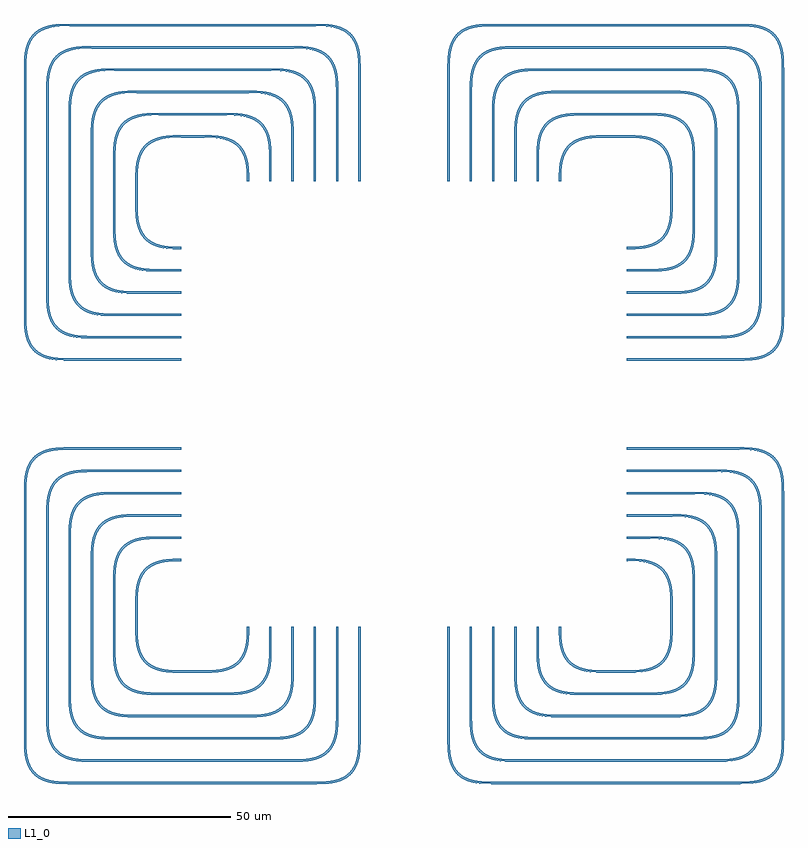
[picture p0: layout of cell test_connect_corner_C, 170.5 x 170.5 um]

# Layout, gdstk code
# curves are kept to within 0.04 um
from math import pi, radians
import gdstk
lib = gdstk.Library(unit=1e-6, precision=1e-09)
def R(c, l, rs):  # rectangles x0, y0, x1, y1
    for r in rs: c.add(gdstk.rectangle(r[:2], r[2:], *l))
def P(c, l, *ps):  # polygons
    for p in ps: c.add(gdstk.Polygon(p, *l))
L1_0 = (1, 0)

bend_euler_cross_sectio_ = lib.new_cell('bend_euler_cross_sectio_342b5477')
P(bend_euler_cross_sectio_, L1_0, [(0,-0.25),(2.93,-0.158),(3.973,-0.02),(4.865,0.175),(5.829,0.491),(6.664,0.882),(7.404,1.353),(8.073,1.927),(8.647,2.596),(9.118,3.336),(9.509,4.171),(9.825,5.135),(10.02,6.027),(10.158,7.07),(10.25,10),(9.75,10),(9.651,7.025),(9.494,5.933),(9.213,4.826),(8.921,4.063),(8.591,3.419),(8.163,2.785),(7.751,2.313),(7.215,1.837),(6.581,1.409),(5.217,0.801),(4.247,0.542),(2.975,0.349),(0,0.25)])

straight_cross_sectionc_ = lib.new_cell('straight_cross_sectionc_5f53f99b')
R(straight_cross_sectionc_, L1_0, [(0,-0.25,0.01,0.25)])

c_straight_cross_sectionc_ = lib.new_cell('straight_cross_sectionc_67a722f7')
R(c_straight_cross_sectionc_, L1_0, [(0,-0.25,5.01,0.25)])

c_straight_cross_sectionc__ = lib.new_cell('straight_cross_sectionc_c906bfc5')
R(c_straight_cross_sectionc__, L1_0, [(0,-0.25,5,0.25)])

c_straight_cross_sectionc___ = lib.new_cell('straight_cross_sectionc_951ab90a')
R(c_straight_cross_sectionc___, L1_0, [(0,-0.25,15,0.25)])

c_straight_cross_sectionc____ = lib.new_cell('straight_cross_sectionc_159e8a25')
R(c_straight_cross_sectionc____, L1_0, [(0,-0.25,10,0.25)])

c_straight_cross_sectionc_____ = lib.new_cell('straight_cross_sectionc_f2adb4bf')
R(c_straight_cross_sectionc_____, L1_0, [(0,-0.25,25,0.25)])

c_straight_cross_sectionc______ = lib.new_cell('straight_cross_sectionc_0d7aceec')
R(c_straight_cross_sectionc______, L1_0, [(0,-0.25,35,0.25)])

c_straight_cross_sectionc_______ = lib.new_cell('straight_cross_sectionc_e5efc106')
R(c_straight_cross_sectionc_______, L1_0, [(0,-0.25,20,0.25)])

c_straight_cross_sectionc________ = lib.new_cell('straight_cross_sectionc_f00fc95a')
R(c_straight_cross_sectionc________, L1_0, [(0,-0.25,45,0.25)])

c_straight_cross_sectionc_________ = lib.new_cell('straight_cross_sectionc_13ce755f')
R(c_straight_cross_sectionc_________, L1_0, [(0,-0.25,55,0.25)])

test_connect_corner_c = lib.new_cell('test_connect_corner_C')
test_connect_corner_c.add(gdstk.Reference(bend_euler_cross_sectio_, (50.01,35)))
test_connect_corner_c.add(gdstk.Reference(bend_euler_cross_sectio_, (60.01,50.01), rotation=pi/2))
test_connect_corner_c.add(gdstk.Reference(bend_euler_cross_sectio_, (45,60.01), rotation=pi))
test_connect_corner_c.add(gdstk.Reference(straight_cross_sectionc_, (50,35)))
test_connect_corner_c.add(gdstk.Reference(c_straight_cross_sectionc_, (60.01,45), rotation=pi/2))
test_connect_corner_c.add(gdstk.Reference(c_straight_cross_sectionc_, (50.01,60.01), rotation=pi))
test_connect_corner_c.add(gdstk.Reference(straight_cross_sectionc_, (35,50.01), rotation=3*pi/2))
test_connect_corner_c.add(gdstk.Reference(bend_euler_cross_sectio_, (55,30)))
test_connect_corner_c.add(gdstk.Reference(bend_euler_cross_sectio_, (65,55), rotation=pi/2))
test_connect_corner_c.add(gdstk.Reference(bend_euler_cross_sectio_, (40,65), rotation=pi))
test_connect_corner_c.add(gdstk.Reference(c_straight_cross_sectionc__, (50,30)))
test_connect_corner_c.add(gdstk.Reference(c_straight_cross_sectionc___, (65,40), rotation=pi/2))
test_connect_corner_c.add(gdstk.Reference(c_straight_cross_sectionc___, (55,65), rotation=pi))
test_connect_corner_c.add(gdstk.Reference(c_straight_cross_sectionc__, (30,55), rotation=3*pi/2))
test_connect_corner_c.add(gdstk.Reference(bend_euler_cross_sectio_, (60,25)))
test_connect_corner_c.add(gdstk.Reference(bend_euler_cross_sectio_, (70,60), rotation=pi/2))
test_connect_corner_c.add(gdstk.Reference(bend_euler_cross_sectio_, (35,70), rotation=pi))
test_connect_corner_c.add(gdstk.Reference(c_straight_cross_sectionc____, (50,25)))
test_connect_corner_c.add(gdstk.Reference(c_straight_cross_sectionc_____, (70,35), rotation=pi/2))
test_connect_corner_c.add(gdstk.Reference(c_straight_cross_sectionc_____, (60,70), rotation=pi))
test_connect_corner_c.add(gdstk.Reference(c_straight_cross_sectionc____, (25,60), rotation=3*pi/2))
test_connect_corner_c.add(gdstk.Reference(bend_euler_cross_sectio_, (65,20)))
test_connect_corner_c.add(gdstk.Reference(bend_euler_cross_sectio_, (75,65), rotation=pi/2))
test_connect_corner_c.add(gdstk.Reference(bend_euler_cross_sectio_, (30,75), rotation=pi))
test_connect_corner_c.add(gdstk.Reference(c_straight_cross_sectionc___, (50,20)))
test_connect_corner_c.add(gdstk.Reference(c_straight_cross_sectionc______, (75,30), rotation=pi/2))
test_connect_corner_c.add(gdstk.Reference(c_straight_cross_sectionc______, (65,75), rotation=pi))
test_connect_corner_c.add(gdstk.Reference(c_straight_cross_sectionc___, (20,65), rotation=3*pi/2))
test_connect_corner_c.add(gdstk.Reference(bend_euler_cross_sectio_, (70,15)))
test_connect_corner_c.add(gdstk.Reference(bend_euler_cross_sectio_, (80,70), rotation=pi/2))
test_connect_corner_c.add(gdstk.Reference(bend_euler_cross_sectio_, (25,80), rotation=pi))
test_connect_corner_c.add(gdstk.Reference(c_straight_cross_sectionc_______, (50,15)))
test_connect_corner_c.add(gdstk.Reference(c_straight_cross_sectionc________, (80,25), rotation=pi/2))
test_connect_corner_c.add(gdstk.Reference(c_straight_cross_sectionc________, (70,80), rotation=pi))
test_connect_corner_c.add(gdstk.Reference(c_straight_cross_sectionc_______, (15,70), rotation=3*pi/2))
test_connect_corner_c.add(gdstk.Reference(bend_euler_cross_sectio_, (75,10)))
test_connect_corner_c.add(gdstk.Reference(bend_euler_cross_sectio_, (85,75), rotation=pi/2))
test_connect_corner_c.add(gdstk.Reference(bend_euler_cross_sectio_, (20,85), rotation=pi))
test_connect_corner_c.add(gdstk.Reference(c_straight_cross_sectionc_____, (50,10)))
test_connect_corner_c.add(gdstk.Reference(c_straight_cross_sectionc_________, (85,20), rotation=pi/2))
test_connect_corner_c.add(gdstk.Reference(c_straight_cross_sectionc_________, (75,85), rotation=pi))
test_connect_corner_c.add(gdstk.Reference(c_straight_cross_sectionc_____, (10,75), rotation=3*pi/2))
test_connect_corner_c.add(gdstk.Reference(bend_euler_cross_sectio_, (-50.01,35), rotation=pi, x_reflection=True))
test_connect_corner_c.add(gdstk.Reference(bend_euler_cross_sectio_, (-60.01,50.01), rotation=pi/2, x_reflection=True))
test_connect_corner_c.add(gdstk.Reference(bend_euler_cross_sectio_, (-45,60.01), x_reflection=True))
test_connect_corner_c.add(gdstk.Reference(straight_cross_sectionc_, (-50,35), rotation=pi))
test_connect_corner_c.add(gdstk.Reference(c_straight_cross_sectionc_, (-60.01,45), rotation=pi/2))
test_connect_corner_c.add(gdstk.Reference(c_straight_cross_sectionc_, (-50.01,60.01)))
test_connect_corner_c.add(gdstk.Reference(straight_cross_sectionc_, (-35,50.01), rotation=3*pi/2))
test_connect_corner_c.add(gdstk.Reference(bend_euler_cross_sectio_, (-55,30), rotation=pi, x_reflection=True))
test_connect_corner_c.add(gdstk.Reference(bend_euler_cross_sectio_, (-65,55), rotation=pi/2, x_reflection=True))
test_connect_corner_c.add(gdstk.Reference(bend_euler_cross_sectio_, (-40,65), x_reflection=True))
test_connect_corner_c.add(gdstk.Reference(c_straight_cross_sectionc__, (-50,30), rotation=pi))
test_connect_corner_c.add(gdstk.Reference(c_straight_cross_sectionc___, (-65,40), rotation=pi/2))
test_connect_corner_c.add(gdstk.Reference(c_straight_cross_sectionc___, (-55,65)))
test_connect_corner_c.add(gdstk.Reference(c_straight_cross_sectionc__, (-30,55), rotation=3*pi/2))
test_connect_corner_c.add(gdstk.Reference(bend_euler_cross_sectio_, (-60,25), rotation=pi, x_reflection=True))
test_connect_corner_c.add(gdstk.Reference(bend_euler_cross_sectio_, (-70,60), rotation=pi/2, x_reflection=True))
test_connect_corner_c.add(gdstk.Reference(bend_euler_cross_sectio_, (-35,70), x_reflection=True))
test_connect_corner_c.add(gdstk.Reference(c_straight_cross_sectionc____, (-50,25), rotation=pi))
test_connect_corner_c.add(gdstk.Reference(c_straight_cross_sectionc_____, (-70,35), rotation=pi/2))
test_connect_corner_c.add(gdstk.Reference(c_straight_cross_sectionc_____, (-60,70)))
test_connect_corner_c.add(gdstk.Reference(c_straight_cross_sectionc____, (-25,60), rotation=3*pi/2))
test_connect_corner_c.add(gdstk.Reference(bend_euler_cross_sectio_, (-65,20), rotation=pi, x_reflection=True))
test_connect_corner_c.add(gdstk.Reference(bend_euler_cross_sectio_, (-75,65), rotation=pi/2, x_reflection=True))
test_connect_corner_c.add(gdstk.Reference(bend_euler_cross_sectio_, (-30,75), x_reflection=True))
test_connect_corner_c.add(gdstk.Reference(c_straight_cross_sectionc___, (-50,20), rotation=pi))
test_connect_corner_c.add(gdstk.Reference(c_straight_cross_sectionc______, (-75,30), rotation=pi/2))
test_connect_corner_c.add(gdstk.Reference(c_straight_cross_sectionc______, (-65,75)))
test_connect_corner_c.add(gdstk.Reference(c_straight_cross_sectionc___, (-20,65), rotation=3*pi/2))
test_connect_corner_c.add(gdstk.Reference(bend_euler_cross_sectio_, (-70,15), rotation=pi, x_reflection=True))
test_connect_corner_c.add(gdstk.Reference(bend_euler_cross_sectio_, (-80,70), rotation=pi/2, x_reflection=True))
test_connect_corner_c.add(gdstk.Reference(bend_euler_cross_sectio_, (-25,80), x_reflection=True))
test_connect_corner_c.add(gdstk.Reference(c_straight_cross_sectionc_______, (-50,15), rotation=pi))
test_connect_corner_c.add(gdstk.Reference(c_straight_cross_sectionc________, (-80,25), rotation=pi/2))
test_connect_corner_c.add(gdstk.Reference(c_straight_cross_sectionc________, (-70,80)))
test_connect_corner_c.add(gdstk.Reference(c_straight_cross_sectionc_______, (-15,70), rotation=3*pi/2))
test_connect_corner_c.add(gdstk.Reference(bend_euler_cross_sectio_, (-75,10), rotation=pi, x_reflection=True))
test_connect_corner_c.add(gdstk.Reference(bend_euler_cross_sectio_, (-85,75), rotation=pi/2, x_reflection=True))
test_connect_corner_c.add(gdstk.Reference(bend_euler_cross_sectio_, (-20,85), x_reflection=True))
test_connect_corner_c.add(gdstk.Reference(c_straight_cross_sectionc_____, (-50,10), rotation=pi))
test_connect_corner_c.add(gdstk.Reference(c_straight_cross_sectionc_________, (-85,20), rotation=pi/2))
test_connect_corner_c.add(gdstk.Reference(c_straight_cross_sectionc_________, (-75,85)))
test_connect_corner_c.add(gdstk.Reference(c_straight_cross_sectionc_____, (-10,75), rotation=3*pi/2))
test_connect_corner_c.add(gdstk.Reference(bend_euler_cross_sectio_, (50.01,-35), x_reflection=True))
test_connect_corner_c.add(gdstk.Reference(bend_euler_cross_sectio_, (60.01,-50.01), rotation=3*pi/2, x_reflection=True))
test_connect_corner_c.add(gdstk.Reference(bend_euler_cross_sectio_, (45,-60.01), rotation=pi, x_reflection=True))
test_connect_corner_c.add(gdstk.Reference(straight_cross_sectionc_, (50,-35)))
test_connect_corner_c.add(gdstk.Reference(c_straight_cross_sectionc_, (60.01,-45), rotation=3*pi/2))
test_connect_corner_c.add(gdstk.Reference(c_straight_cross_sectionc_, (50.01,-60.01), rotation=pi))
test_connect_corner_c.add(gdstk.Reference(straight_cross_sectionc_, (35,-50.01), rotation=pi/2))
test_connect_corner_c.add(gdstk.Reference(bend_euler_cross_sectio_, (55,-30), x_reflection=True))
test_connect_corner_c.add(gdstk.Reference(bend_euler_cross_sectio_, (65,-55), rotation=3*pi/2, x_reflection=True))
test_connect_corner_c.add(gdstk.Reference(bend_euler_cross_sectio_, (40,-65), rotation=pi, x_reflection=True))
test_connect_corner_c.add(gdstk.Reference(c_straight_cross_sectionc__, (50,-30)))
test_connect_corner_c.add(gdstk.Reference(c_straight_cross_sectionc___, (65,-40), rotation=3*pi/2))
test_connect_corner_c.add(gdstk.Reference(c_straight_cross_sectionc___, (55,-65), rotation=pi))
test_connect_corner_c.add(gdstk.Reference(c_straight_cross_sectionc__, (30,-55), rotation=pi/2))
test_connect_corner_c.add(gdstk.Reference(bend_euler_cross_sectio_, (60,-25), x_reflection=True))
test_connect_corner_c.add(gdstk.Reference(bend_euler_cross_sectio_, (70,-60), rotation=3*pi/2, x_reflection=True))
test_connect_corner_c.add(gdstk.Reference(bend_euler_cross_sectio_, (35,-70), rotation=pi, x_reflection=True))
test_connect_corner_c.add(gdstk.Reference(c_straight_cross_sectionc____, (50,-25)))
test_connect_corner_c.add(gdstk.Reference(c_straight_cross_sectionc_____, (70,-35), rotation=3*pi/2))
test_connect_corner_c.add(gdstk.Reference(c_straight_cross_sectionc_____, (60,-70), rotation=pi))
test_connect_corner_c.add(gdstk.Reference(c_straight_cross_sectionc____, (25,-60), rotation=pi/2))
test_connect_corner_c.add(gdstk.Reference(bend_euler_cross_sectio_, (65,-20), x_reflection=True))
test_connect_corner_c.add(gdstk.Reference(bend_euler_cross_sectio_, (75,-65), rotation=3*pi/2, x_reflection=True))
test_connect_corner_c.add(gdstk.Reference(bend_euler_cross_sectio_, (30,-75), rotation=pi, x_reflection=True))
test_connect_corner_c.add(gdstk.Reference(c_straight_cross_sectionc___, (50,-20)))
test_connect_corner_c.add(gdstk.Reference(c_straight_cross_sectionc______, (75,-30), rotation=3*pi/2))
test_connect_corner_c.add(gdstk.Reference(c_straight_cross_sectionc______, (65,-75), rotation=pi))
test_connect_corner_c.add(gdstk.Reference(c_straight_cross_sectionc___, (20,-65), rotation=pi/2))
test_connect_corner_c.add(gdstk.Reference(bend_euler_cross_sectio_, (70,-15), x_reflection=True))
test_connect_corner_c.add(gdstk.Reference(bend_euler_cross_sectio_, (80,-70), rotation=3*pi/2, x_reflection=True))
test_connect_corner_c.add(gdstk.Reference(bend_euler_cross_sectio_, (25,-80), rotation=pi, x_reflection=True))
test_connect_corner_c.add(gdstk.Reference(c_straight_cross_sectionc_______, (50,-15)))
test_connect_corner_c.add(gdstk.Reference(c_straight_cross_sectionc________, (80,-25), rotation=3*pi/2))
test_connect_corner_c.add(gdstk.Reference(c_straight_cross_sectionc________, (70,-80), rotation=pi))
test_connect_corner_c.add(gdstk.Reference(c_straight_cross_sectionc_______, (15,-70), rotation=pi/2))
test_connect_corner_c.add(gdstk.Reference(bend_euler_cross_sectio_, (75,-10), x_reflection=True))
test_connect_corner_c.add(gdstk.Reference(bend_euler_cross_sectio_, (85,-75), rotation=3*pi/2, x_reflection=True))
test_connect_corner_c.add(gdstk.Reference(bend_euler_cross_sectio_, (20,-85), rotation=pi, x_reflection=True))
test_connect_corner_c.add(gdstk.Reference(c_straight_cross_sectionc_____, (50,-10)))
test_connect_corner_c.add(gdstk.Reference(c_straight_cross_sectionc_________, (85,-20), rotation=3*pi/2))
test_connect_corner_c.add(gdstk.Reference(c_straight_cross_sectionc_________, (75,-85), rotation=pi))
test_connect_corner_c.add(gdstk.Reference(c_straight_cross_sectionc_____, (10,-75), rotation=pi/2))
test_connect_corner_c.add(gdstk.Reference(bend_euler_cross_sectio_, (-50.01,-35), rotation=pi))
test_connect_corner_c.add(gdstk.Reference(bend_euler_cross_sectio_, (-60.01,-50.01), rotation=3*pi/2))
test_connect_corner_c.add(gdstk.Reference(bend_euler_cross_sectio_, (-45,-60.01)))
test_connect_corner_c.add(gdstk.Reference(straight_cross_sectionc_, (-50,-35), rotation=pi))
test_connect_corner_c.add(gdstk.Reference(c_straight_cross_sectionc_, (-60.01,-45), rotation=3*pi/2))
test_connect_corner_c.add(gdstk.Reference(c_straight_cross_sectionc_, (-50.01,-60.01)))
test_connect_corner_c.add(gdstk.Reference(straight_cross_sectionc_, (-35,-50.01), rotation=pi/2))
test_connect_corner_c.add(gdstk.Reference(bend_euler_cross_sectio_, (-55,-30), rotation=pi))
test_connect_corner_c.add(gdstk.Reference(bend_euler_cross_sectio_, (-65,-55), rotation=3*pi/2))
test_connect_corner_c.add(gdstk.Reference(bend_euler_cross_sectio_, (-40,-65)))
test_connect_corner_c.add(gdstk.Reference(c_straight_cross_sectionc__, (-50,-30), rotation=pi))
test_connect_corner_c.add(gdstk.Reference(c_straight_cross_sectionc___, (-65,-40), rotation=3*pi/2))
test_connect_corner_c.add(gdstk.Reference(c_straight_cross_sectionc___, (-55,-65)))
test_connect_corner_c.add(gdstk.Reference(c_straight_cross_sectionc__, (-30,-55), rotation=pi/2))
test_connect_corner_c.add(gdstk.Reference(bend_euler_cross_sectio_, (-60,-25), rotation=pi))
test_connect_corner_c.add(gdstk.Reference(bend_euler_cross_sectio_, (-70,-60), rotation=3*pi/2))
test_connect_corner_c.add(gdstk.Reference(bend_euler_cross_sectio_, (-35,-70)))
test_connect_corner_c.add(gdstk.Reference(c_straight_cross_sectionc____, (-50,-25), rotation=pi))
test_connect_corner_c.add(gdstk.Reference(c_straight_cross_sectionc_____, (-70,-35), rotation=3*pi/2))
test_connect_corner_c.add(gdstk.Reference(c_straight_cross_sectionc_____, (-60,-70)))
test_connect_corner_c.add(gdstk.Reference(c_straight_cross_sectionc____, (-25,-60), rotation=pi/2))
test_connect_corner_c.add(gdstk.Reference(bend_euler_cross_sectio_, (-65,-20), rotation=pi))
test_connect_corner_c.add(gdstk.Reference(bend_euler_cross_sectio_, (-75,-65), rotation=3*pi/2))
test_connect_corner_c.add(gdstk.Reference(bend_euler_cross_sectio_, (-30,-75)))
test_connect_corner_c.add(gdstk.Reference(c_straight_cross_sectionc___, (-50,-20), rotation=pi))
test_connect_corner_c.add(gdstk.Reference(c_straight_cross_sectionc______, (-75,-30), rotation=3*pi/2))
test_connect_corner_c.add(gdstk.Reference(c_straight_cross_sectionc______, (-65,-75)))
test_connect_corner_c.add(gdstk.Reference(c_straight_cross_sectionc___, (-20,-65), rotation=pi/2))
test_connect_corner_c.add(gdstk.Reference(bend_euler_cross_sectio_, (-70,-15), rotation=pi))
test_connect_corner_c.add(gdstk.Reference(bend_euler_cross_sectio_, (-80,-70), rotation=3*pi/2))
test_connect_corner_c.add(gdstk.Reference(bend_euler_cross_sectio_, (-25,-80)))
test_connect_corner_c.add(gdstk.Reference(c_straight_cross_sectionc_______, (-50,-15), rotation=pi))
test_connect_corner_c.add(gdstk.Reference(c_straight_cross_sectionc________, (-80,-25), rotation=3*pi/2))
test_connect_corner_c.add(gdstk.Reference(c_straight_cross_sectionc________, (-70,-80)))
test_connect_corner_c.add(gdstk.Reference(c_straight_cross_sectionc_______, (-15,-70), rotation=pi/2))
test_connect_corner_c.add(gdstk.Reference(bend_euler_cross_sectio_, (-75,-10), rotation=pi))
test_connect_corner_c.add(gdstk.Reference(bend_euler_cross_sectio_, (-85,-75), rotation=3*pi/2))
test_connect_corner_c.add(gdstk.Reference(bend_euler_cross_sectio_, (-20,-85)))
test_connect_corner_c.add(gdstk.Reference(c_straight_cross_sectionc_____, (-50,-10), rotation=pi))
test_connect_corner_c.add(gdstk.Reference(c_straight_cross_sectionc_________, (-85,-20), rotation=3*pi/2))
test_connect_corner_c.add(gdstk.Reference(c_straight_cross_sectionc_________, (-75,-85)))
test_connect_corner_c.add(gdstk.Reference(c_straight_cross_sectionc_____, (-10,-75), rotation=pi/2))

lib.write_gds('test_connect_corner_C.gds')
